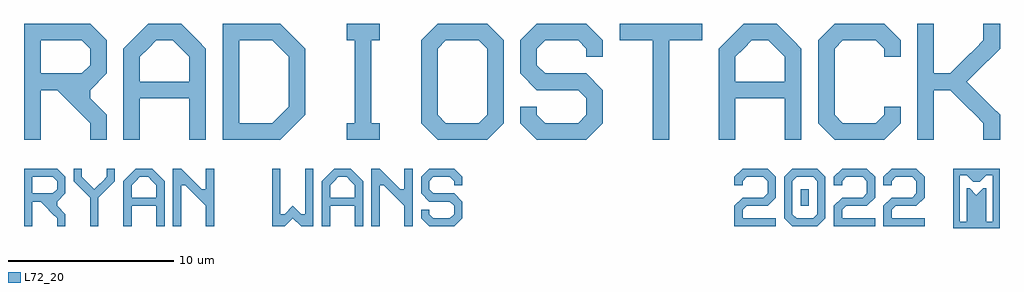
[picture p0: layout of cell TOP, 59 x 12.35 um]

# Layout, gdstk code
import gdstk
lib = gdstk.Library(unit=1e-6, precision=1e-09)
def R(c, l, rs):  # rectangles x0, y0, x1, y1
    for r in rs: c.add(gdstk.rectangle(r[:2], r[2:], *l))
def A(c, l, x, y, w, h, nx, ny, dx, dy):  # array of equal rectangles
    R(c, l, [(x+i*dx, y+j*dy, x+i*dx+w, y+j*dy+h) for i in range(nx) for j in range(ny)])
def P(c, l, *ps):  # polygons
    for p in ps: c.add(gdstk.Polygon(p, *l))
L72_20 = (72, 20)

text_5 = lib.new_cell('TEXT$5')
A(text_5, L72_20, 31, 0, 3, 1, 1, 3, 0, 3)
A(text_5, L72_20, 20, 1, 1, 5, 3, 1, 4, 0)
R(text_5, L72_20, [(0,0,1,3), (4,0,5,1.5), (6,0,7,2.5), (10,0,11,2.5), (12,0,15.5,0.5), (19.5,0,21.5,1), (25,0,28,1), (38,0,39,6), (42,0,43,2.5), (46,0,47,2.5), (49,0,52,1), (54,0,55,3), (58,0,59,1.5), (12,0.5,16,1), (12,1,13,6), (16,1,16.5,1.5), (30,1,31,2), (34,1,35,3), (48,1,49,6), (52,1,53,2), (3.5,1.5,4,2.5), (16,1.5,17,5.5), (57.5,1.5,58.5,2), (2.5,2.5,4,3), (6,2.5,11,3.5), (42,2.5,47,3.5), (0,3,4,4), (54,3,57,4), (6,3.5,7,5.5), (10,3.5,11,5.5), (42,3.5,43,5.5), (46,3.5,47,5.5), (0,4,1,6), (4,4,5,6), (30,4,31,6), (54,4,55,7), (57,4,57.5,5), (34,5,35,6), (52,5,53,6), (9.5,5.5,10.5,6), (16,5.5,16.5,6), (42.5,5.5,43.5,6), (45.5,5.5,46.5,6), (58,5.5,59,7), (0,6,4,7), (7.5,6,9.5,7), (12,6,15.5,7), (19.5,6,21.5,7), (25,6,28,7), (36,6,41,7), (43.5,6,45.5,7), (49,6,52,7)])
P(text_5, L72_20, [(4,7),(4,6),(5,6)],
  [(3.5,6),(4,6),(4,5.5)],
  [(3.5,4),(4,4),(4,4.5)],
  [(4,3),(4,4),(5,4)],
  [(6,5.5),(7.5,5.5),(7.5,7)],
  [(9.5,7),(9.5,6),(10.5,6)],
  [(15.5,7),(15.5,6),(16.5,6)],
  [(24,6),(25,6),(25,7)],
  [(28,7),(28,6),(29,6)],
  [(7.5,5.5),(7.5,6),(8,6)],
  [(9,6),(9.5,6),(9.5,5.5)],
  [(10.5,6),(10.5,5.5),(11,5.5)],
  [(7,5),(7,5.5),(7.5,5.5)],
  [(9.5,5.5),(10,5.5),(10,5)],
  [(2,3),(2.5,3),(2.5,2.5)],
  [(2.5,2.5),(3.5,2.5),(3.5,1.5)],
  [(4,2.5),(4,1.5),(5,1.5)],
  [(3.5,1.5),(4,1.5),(4,1)],
  [(15,6),(16,6),(16,5)],
  [(16.5,6),(16.5,5.5),(17,5.5)],
  [(15,1),(16,1),(16,2)],
  [(16.5,1),(16.5,1.5),(17,1.5)],
  [(25,5.5),(25,6),(25.5,6)],
  [(27.5,6),(28,6),(28,5.5)],
  [(25,1.5),(25,1),(25.5,1)],
  [(27.5,1),(28,1),(28,1.5)],
  [(30,6),(31,6),(31,7)],
  [(34,7),(34,6),(35,6)],
  [(42.5,6),(43.5,6),(43.5,7)],
  [(45.5,7),(45.5,6),(46.5,6)],
  [(48,6),(49,6),(49,7)],
  [(52,7),(52,6),(53,6)],
  [(31,5.5),(31,6),(31.5,6)],
  [(33.5,6),(34,6),(34,5.5)],
  [(31,4.5),(31,4),(31.5,4)],
  [(30,4),(31,4),(31,3)],
  [(34,4),(34,3),(35,3)],
  [(33.5,3),(34,3),(34,2.5)],
  [(16,0.5),(16,1),(16.5,1)],
  [(15.5,0),(15.5,0.5),(16,0.5)],
  [(24,1),(25,1),(25,0)],
  [(28,0),(28,1),(29,1)],
  [(31,1.5),(31,1),(31.5,1)],
  [(33.5,1),(34,1),(34,1.5)],
  [(30,1),(31,1),(31,0)],
  [(34,0),(34,1),(35,1)],
  [(42,5.5),(42.5,5.5),(42.5,6)],
  [(43.5,5.5),(43.5,6),(44,6)],
  [(45,6),(45.5,6),(45.5,5.5)],
  [(46.5,6),(46.5,5.5),(47,5.5)],
  [(43,5),(43,5.5),(43.5,5.5)],
  [(45.5,5.5),(46,5.5),(46,5)],
  [(49,5.5),(49,6),(49.5,6)],
  [(51.5,6),(52,6),(52,5.5)],
  [(57.5,5.5),(58,5.5),(58,6)],
  [(57,5),(57.5,5),(57.5,5.5)],
  [(56,4),(57,4),(57,5)],
  [(57.5,4),(57.5,5.5),(59,5.5)],
  [(57,3.5),(57,4),(57.5,4)],
  [(49,1.5),(49,1),(49.5,1)],
  [(51.5,1),(52,1),(52,1.5)],
  [(48,1),(49,1),(49,0)],
  [(52,0),(52,1),(53,1)],
  [(56,3),(57,3),(57,2)],
  [(57,3.5),(57,2),(58.5,2)],
  [(57,2),(57.5,2),(57.5,1.5)],
  [(58.5,2),(58.5,1.5),(59,1.5)],
  [(57.5,1.5),(58,1.5),(58,1)])

text_4 = lib.new_cell('TEXT$4')
A(text_4, L72_20, 24.5, 0, 1.5, 0.5, 1, 3, 0, 1.5)
R(text_4, L72_20, [(0,0,0.5,1.5), (2,0,2.5,0.75), (4,0,4.5,2.25), (6,0,6.5,1.25), (8,0,8.5,1.25), (9,0,9.5,2.5), (11,0,11.5,3.5), (15,0,15.75,0.5), (16.75,0,17.5,0.5), (18,0,18.5,1.25), (20,0,20.5,1.25), (21,0,21.5,2.5), (23,0,23.5,3.5), (15,0.5,17.5,0.75), (24,0.5,24.5,1), (26,0.5,26.5,1.5), (1.75,0.75,2,1.25), (15,0.75,15.5,3.5), (17,0.75,17.5,3.5), (1.25,1.25,2,1.5), (6,1.25,8.5,1.75), (18,1.25,20.5,1.75), (0,1.5,2,2), (6,1.75,6.5,2.75), (8,1.75,8.5,2.75), (18,1.75,18.5,2.75), (20,1.75,20.5,2.75), (0,2,0.5,3), (2,2,2.5,3), (24,2,24.5,3), (4.5,2.25,5,2.5), (10,2.25,10.5,2.5), (22,2.25,22.5,2.5), (3.25,2.5,3.75,2.75), (4.75,2.5,5,2.75), (9,2.5,10,3), (21,2.5,22,3), (26,2.5,26.5,3), (3,2.75,3.5,3.5), (5,2.75,5.5,3.5), (7.75,2.75,8.25,3), (19.75,2.75,20.25,3), (0,3,2,3.5), (6.75,3,7.75,3.5), (9,3,9.5,3.5), (18.75,3,19.75,3.5), (21,3,21.5,3.5)])
P(text_4, L72_20, [(2,3.5),(2,3),(2.5,3)],
  [(1.75,3),(2,3),(2,2.75)],
  [(1.75,2),(2,2),(2,2.25)],
  [(3.5,3),(3.5,2.75),(3.75,2.75)],
  [(4.75,2.75),(5,2.75),(5,3)],
  [(3,2.75),(3.25,2.75),(3.25,2.5)],
  [(3.75,2.75),(3.75,2.5),(4,2.5)],
  [(4.5,2.5),(4.75,2.5),(4.75,2.75)],
  [(2,1.5),(2,2),(2.5,2)],
  [(3.25,2.5),(4,2.5),(4,1.75)],
  [(4,2.5),(4,2.25),(4.25,2.25)],
  [(4.25,2.25),(4.5,2.25),(4.5,2.5)],
  [(5,2.25),(5,2.75),(5.5,2.75)],
  [(6,2.75),(6.75,2.75),(6.75,3.5)],
  [(7.75,3.5),(7.75,3),(8.25,3)],
  [(9.5,3.5),(9.5,3),(10,3)],
  [(6.75,2.75),(6.75,3),(7,3)],
  [(7.5,3),(7.75,3),(7.75,2.75)],
  [(8.25,3),(8.25,2.75),(8.5,2.75)],
  [(1,1.5),(1.25,1.5),(1.25,1.25)],
  [(1.25,1.25),(1.75,1.25),(1.75,0.75)],
  [(2,1.25),(2,0.75),(2.5,0.75)],
  [(1.75,0.75),(2,0.75),(2,0.5)],
  [(4.5,1.75),(4.5,2.25),(5,2.25)],
  [(6.5,2.5),(6.5,2.75),(6.75,2.75)],
  [(7.75,2.75),(8,2.75),(8,2.5)],
  [(10,3),(10,2.5),(10.5,2.5)],
  [(9.75,2.5),(10,2.5),(10,2.25)],
  [(10.5,2.5),(10.5,2.25),(10.75,2.25)],
  [(10,2.25),(11,2.25),(11,1.25)],
  [(15.75,0.75),(16.25,0.75),(16.25,1.25)],
  [(16.25,1.25),(16.25,0.75),(16.75,0.75)],
  [(15.75,0),(15.75,0.5),(16.25,0.5)],
  [(16.25,0.5),(16.75,0.5),(16.75,0)],
  [(18,2.75),(18.75,2.75),(18.75,3.5)],
  [(19.75,3.5),(19.75,3),(20.25,3)],
  [(21.5,3.5),(21.5,3),(22,3)],
  [(18.75,2.75),(18.75,3),(19,3)],
  [(19.5,3),(19.75,3),(19.75,2.75)],
  [(20.25,3),(20.25,2.75),(20.5,2.75)],
  [(18.5,2.5),(18.5,2.75),(18.75,2.75)],
  [(19.75,2.75),(20,2.75),(20,2.5)],
  [(22,3),(22,2.5),(22.5,2.5)],
  [(21.75,2.5),(22,2.5),(22,2.25)],
  [(22.5,2.5),(22.5,2.25),(22.75,2.25)],
  [(22,2.25),(23,2.25),(23,1.25)],
  [(24,3),(24.5,3),(24.5,3.5)],
  [(26,3.5),(26,3),(26.5,3)],
  [(24.5,2.75),(24.5,3),(24.75,3)],
  [(25.75,3),(26,3),(26,2.75)],
  [(24.5,2.25),(24.5,2),(24.75,2)],
  [(24,2),(24.5,2),(24.5,1.5)],
  [(26,2),(26,1.5),(26.5,1.5)],
  [(25.75,1.5),(26,1.5),(26,1.25)],
  [(24.5,0.75),(24.5,0.5),(24.75,0.5)],
  [(25.75,0.5),(26,0.5),(26,0.75)],
  [(24,0.5),(24.5,0.5),(24.5,0)],
  [(26,0),(26,0.5),(26.5,0.5)])

text_7 = lib.new_cell('TEXT$7')
A(text_7, L72_20, 0.5, 3, 1.5, 0.5, 4, 1, 3, 0)
R(text_7, L72_20, [(0,0,2.5,0.5), (3.5,0,5,0.5), (6,0,8.5,0.5), (9,0,11.5,0.5), (0,0.5,0.5,1.25), (3,0.5,3.5,3), (5,0.5,5.5,3), (6,0.5,6.5,1.25), (9,0.5,9.5,1.25), (0.5,1.25,2,1.75), (4,1.25,4.5,2.25), (6.5,1.25,8,1.75), (9.5,1.25,11,1.75), (2,1.75,2.5,3), (8,1.75,8.5,3), (11,1.75,11.5,3), (0,2.5,0.5,3), (6,2.5,6.5,3), (9,2.5,9.5,3)])
P(text_7, L72_20, [(0,3),(0.5,3),(0.5,3.5)],
  [(2,3.5),(2,3),(2.5,3)],
  [(0.5,2.75),(0.5,3),(0.75,3)],
  [(1.75,3),(2,3),(2,2.75)],
  [(1.75,1.75),(2,1.75),(2,2)],
  [(0,1.25),(0.5,1.25),(0.5,1.75)],
  [(2,1.25),(2,1.75),(2.5,1.75)],
  [(3,3),(3.5,3),(3.5,3.5)],
  [(5,3.5),(5,3),(5.5,3)],
  [(0.5,1),(0.5,1.25),(0.75,1.25)],
  [(3.5,2.75),(3.5,3),(3.75,3)],
  [(4.75,3),(5,3),(5,2.75)],
  [(3.5,0.75),(3.5,0.5),(3.75,0.5)],
  [(4.75,0.5),(5,0.5),(5,0.75)],
  [(6,3),(6.5,3),(6.5,3.5)],
  [(8,3.5),(8,3),(8.5,3)],
  [(6.5,2.75),(6.5,3),(6.75,3)],
  [(7.75,3),(8,3),(8,2.75)],
  [(7.75,1.75),(8,1.75),(8,2)],
  [(9,3),(9.5,3),(9.5,3.5)],
  [(11,3.5),(11,3),(11.5,3)],
  [(9.5,2.75),(9.5,3),(9.75,3)],
  [(10.75,3),(11,3),(11,2.75)],
  [(10.75,1.75),(11,1.75),(11,2)],
  [(3,0.5),(3.5,0.5),(3.5,0)],
  [(5,0),(5,0.5),(5.5,0.5)],
  [(6,1.25),(6.5,1.25),(6.5,1.75)],
  [(8,1.25),(8,1.75),(8.5,1.75)],
  [(9,1.25),(9.5,1.25),(9.5,1.75)],
  [(11,1.25),(11,1.75),(11.5,1.75)],
  [(6.5,1),(6.5,1.25),(6.75,1.25)],
  [(9.5,1),(9.5,1.25),(9.75,1.25)])

text_6 = lib.new_cell('TEXT$6')
R(text_6, L72_20, [(-0.4,-0.4,2.4,0), (-0.4,0,0,2.8), (0.4,0,1.6,1.6), (2,0,2.4,2.8), (0.4,1.6,0.6,2), (1.4,1.6,1.6,2), (0.8,2.4,1.2,2.8), (-0.4,2.8,2.4,3.2)])
P(text_6, L72_20, [(0.4,2.8),(0.8,2.8),(0.8,2.4)],
  [(1.2,2.4),(1.2,2.8),(1.6,2.8)],
  [(0.6,2),(0.6,1.6),(1,1.6)],
  [(1,1.6),(1.4,1.6),(1.4,2)])

top = lib.new_cell('TOP')
top.add(gdstk.Reference(text_5, (0.085,-0.25)))
top.add(gdstk.Reference(text_4, (0.085,-5.5)))
top.add(gdstk.Reference(text_7, (43.035,-5.5)))
top.add(gdstk.Reference(text_6, (56.66,-5.2)))

lib.write_gds('TOP.gds')
